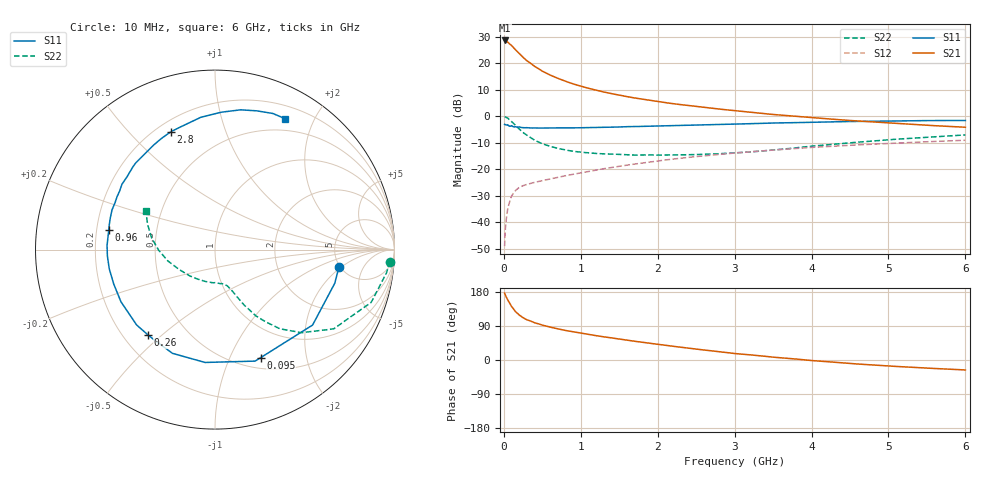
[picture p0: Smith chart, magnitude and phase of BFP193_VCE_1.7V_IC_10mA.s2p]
! Infineon Technologies  Discrete & RF Semiconductors
! BFP193
! VCE = 1.7 V,  IC =  10 mA
! Common Emitter S-Parameters:  Jan 2016
# GHz  S  MA  R  50
!  f  S11  S21  S12  S22
! GHz  MAG  ANG  MAG  ANG  MAG  ANG  MAG  ANG
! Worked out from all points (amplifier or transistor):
!   210 points, 10 MHz to 6 GHz, reference 50 ohm
!   highest |S21| = 28.6 dB at 10 MHz (marker M1)
!   |S21| within 3 dB of that: start of sweep to 134.4 MHz
!   unconditionally stable (mu >= 1): 959.2 MHz to 3.773 GHz
!   at 185 MHz: K = 0.33, MSG = 25.7 dB, |S12| = -27.3 dB
!   at 1.52 GHz: K = 1.09, MAG = 11.5 dB, |S12| = -18.9 dB
!   at 6 GHz: K = 0.92, MSG = 2.5 dB, |S12| = -9.1 dB
!   S11 on the Smith chart (normalised r, x): 10 MHz: 4.89, -1.85; 95 MHz: 0.63, -1.31; 260 MHz: 0.30, -0.45; 960 MHz: 0.25, +0.09; 2.8 GHz: 0.26, +0.66; 6 GHz: 0.35, +1.62
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0.01  0.6977 -8.0  26.87 176.3  0.0035 88.9  0.9758 -3.9
0.02  0.6931 -15.7  26.24 170.7  0.0075 81.7  0.9649 -7.6
0.05  0.6873 -37.7  25.04 158.4  0.0175 73.7  0.9184 -18.7
0.095  0.6533 -67.0  21.88 143.1  0.0295 61.0  0.8047 -32.0
0.1  0.6603 -70.2  21.64 141.2  0.0309 60.2  0.7952 -33.7
0.15  0.6312 -95.0  18.02 127.8  0.0392 51.7  0.669 -43.8
0.2  0.6247 -112.3  15.23 118.6  0.045 46.7  0.57 -50.7
0.24  0.6068 -123.3  13.3 113.0  0.0479 44.2  0.5048 -54.1
0.26  0.6044 -128.1  12.49 110.5  0.0492 43.3  0.4777 -55.7
0.3  0.6058 -136.1  11.13 106.1  0.0513 42.1  0.434 -58.3
0.4  0.5992 -151.0  8.72 98.2  0.0562 41.3  0.3504 -62.2
0.5  0.5959 -161.3  7.077 92.0  0.0604 41.8  0.3008 -64.5
0.7  0.6006 -176.6  5.187 82.0  0.0696 43.9  0.2458 -67.7
0.96  0.6024 169.5  3.827 72.3  0.0827 46.4  0.2119 -71.6
1.02  0.6053 166.7  3.611 70.2  0.0857 46.8  0.2076 -72.7
1.4  0.6201 151.7  2.651 58.3  0.1069 47.7  0.1923 -80.9
2.02  0.6548 131.8  1.867 40.9  0.1438 46.0  0.1835 -98.8
2.8  0.7008 110.7  1.36 21.8  0.1894 40.4  0.1949 -126.6
3.1  0.7137 104.0  1.228 15.4  0.2063 37.6  0.2065 -137.6
4.1  0.7704 85.7  0.914 -2.8  0.2614 27.8  0.2784 -169.6
5.1  0.81 71.9  0.73 -17.0  0.3097 17.1  0.3663 167.4
6  0.8275 61.8  0.617 -26.3  0.3503 7.3  0.4416 150.7
